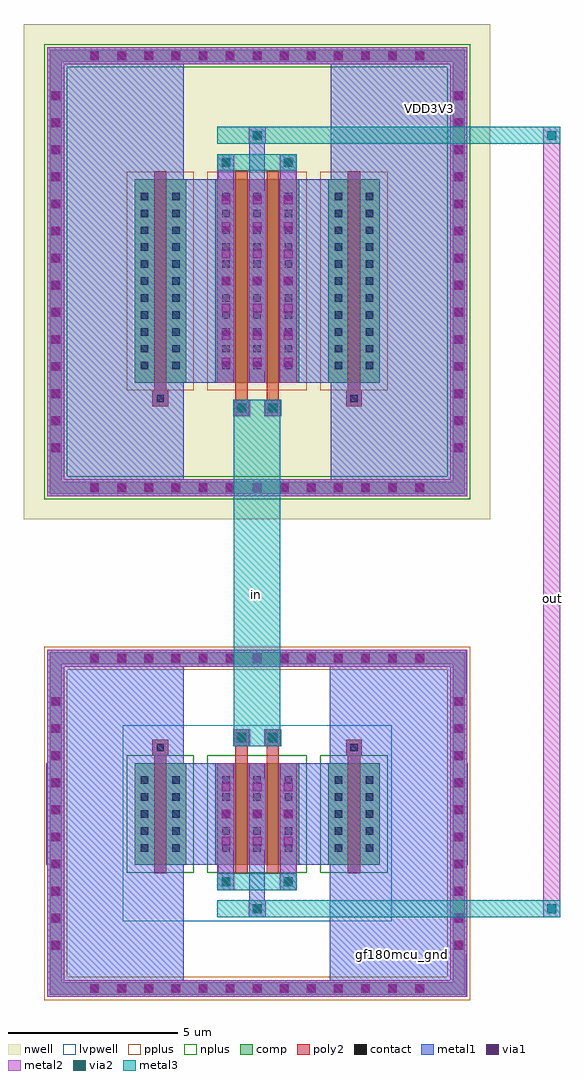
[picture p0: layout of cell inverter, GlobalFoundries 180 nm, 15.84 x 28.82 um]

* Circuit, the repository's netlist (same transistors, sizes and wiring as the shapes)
** sch_path: /foss/designs/core_pga/inverter/inverter.sch
.subckt inverter VDD3V3 gf180mcu_gnd in out
*.PININFO gf180mcu_gnd:B VDD3V3:B in:B out:B
M1 out in VDD3V3 VDD3V3 pfet_03v3 L=0.36u W=6u nf=1 m=2
M2 out in gf180mcu_gnd gf180mcu_gnd nfet_03v3 L=0.36u W=3u nf=1 m=2
M3 gf180mcu_gnd gf180mcu_gnd gf180mcu_gnd gf180mcu_gnd nfet_03v3 L=0.36u W=3u nf=1 m=2
M4 VDD3V3 VDD3V3 VDD3V3 VDD3V3 pfet_03v3 L=0.36u W=6u nf=1 m=2
.ends

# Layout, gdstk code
from math import pi, radians
import gdstk
lib = gdstk.Library(unit=1e-6, precision=5e-09)
def R(c, l, rs):  # rectangles x0, y0, x1, y1
    for r in rs: c.add(gdstk.rectangle(r[:2], r[2:], *l))
def A(c, l, x, y, w, h, nx, ny, dx, dy):  # array of equal rectangles
    R(c, l, [(x+i*dx, y+j*dy, x+i*dx+w, y+j*dy+h) for i in range(nx) for j in range(ny)])
def P(c, l, *ps):  # polygons
    for p in ps: c.add(gdstk.Polygon(p, *l))
nwell = (21, 0)
comp = (22, 0)
poly2 = (30, 0)
pplus = (31, 0)
nplus = (32, 0)
contact = (33, 0)
metal1 = (34, 0)
via1 = (35, 0)
metal2 = (36, 0)
via2 = (38, 0)
metal3 = (42, 0)
lvpwell = (204, 0)

unnamed_2a73851a = lib.new_cell('Unnamed_2a73851a')
R(unnamed_2a73851a, nwell, [(-2.32,-4.395,2.32,4.395)])
R(unnamed_2a73851a, comp, [(-1.97,-3.275,-0.45,2.725), (0.41,-3.275,1.97,2.725)])
R(unnamed_2a73851a, poly2, [(0.96,-4.275,1.42,-3.815), (1.01,-4.225,1.37,-3.865), (-1.44,-3.975,-0.98,-3.515), (-1.39,-3.925,-1.03,-3.565), (1.01,-3.815,1.37,-3.515), (-1.39,-3.515,-1.03,2.965), (1.01,-3.515,1.37,2.965)])
R(unnamed_2a73851a, pplus, [(-2.2,-3.505,-0.22,2.955), (0.18,-3.505,2.2,2.955)])
A(unnamed_2a73851a, contact, -1.78, -2.885, 0.22, 0.22, 1, 11, 0, 0.5)
A(unnamed_2a73851a, contact, -0.86, -2.885, 0.22, 0.22, 1, 11, 0, 0.5)
A(unnamed_2a73851a, contact, 0.62, -2.885, 0.22, 0.22, 1, 11, 0, 0.5)
A(unnamed_2a73851a, contact, 1.54, -2.885, 0.22, 0.22, 1, 11, 0, 0.5)
R(unnamed_2a73851a, contact, [(1.08,-4.155,1.3,-3.935), (-1.32,-3.855,-1.1,-3.635)])
A(unnamed_2a73851a, metal1, -1.9, -3.975, 0.46, 0.46, 3, 1, 0.46, 0)
A(unnamed_2a73851a, metal1, -1.9, -3.005, 0.46, 0.46, 1, 11, 0, 0.5)
A(unnamed_2a73851a, metal1, -0.98, -3.005, 0.46, 0.46, 1, 11, 0, 0.5)
A(unnamed_2a73851a, metal1, 0.5, -3.005, 0.46, 0.46, 1, 11, 0, 0.5)
A(unnamed_2a73851a, metal1, 1.42, -3.005, 0.46, 0.46, 1, 11, 0, 0.5)
A(unnamed_2a73851a, metal1, 0.48, -2.925, 0.5, 0.5, 1, 7, 0, 0.8)
A(unnamed_2a73851a, metal1, 1.4, -2.925, 0.5, 0.5, 1, 7, 0, 0.8)
R(unnamed_2a73851a, metal1, [(0.96,-4.275,1.42,-3.815), (0.96,-4.275,1.42,-3.815), (-1.9,-3.975,-1.44,-3.275), (-0.98,-3.975,-0.52,-3.275), (-1.9,-3.275,-1.44,2.725), (-0.98,-3.275,-0.52,2.725), (0.5,-3.275,0.96,2.725), (1.42,-3.275,1.88,2.725), (0.48,-2.925,0.98,2.375), (1.4,-2.925,1.9,2.375), (0.5,2.725,0.96,3.475), (1.42,2.725,1.88,4.275), (0.48,2.975,0.98,3.475), (1.4,3.775,1.9,4.275)])
A(unnamed_2a73851a, via1, 0.6, -2.805, 0.26, 0.26, 1, 7, 0, 0.8)
A(unnamed_2a73851a, via1, 1.52, -2.805, 0.26, 0.26, 1, 7, 0, 0.8)
R(unnamed_2a73851a, via1, [(0.6,3.095,0.86,3.355), (1.52,3.895,1.78,4.155)])
A(unnamed_2a73851a, metal2, 0.48, -2.925, 0.5, 0.5, 1, 7, 0, 0.8)
A(unnamed_2a73851a, metal2, 1.4, -2.925, 0.5, 0.5, 1, 7, 0, 0.8)
R(unnamed_2a73851a, metal2, [(0.48,-3.275,0.98,2.725), (1.4,-3.275,1.9,2.725), (0.48,2.975,0.98,3.475), (1.4,3.775,1.9,4.275)])
R(unnamed_2a73851a, via2, [(0.6,3.095,0.86,3.355), (1.52,3.895,1.78,4.155)])
R(unnamed_2a73851a, metal3, [(0.48,2.975,0.98,3.475), (0.48,2.975,1.9,3.475), (0.48,3.775,1.9,4.275), (1.4,3.775,1.9,4.275)])

unnamed_f1af8ef3 = lib.new_cell('Unnamed_f1af8ef3')
R(unnamed_f1af8ef3, nwell, [(-2.32,-4.395,2.32,4.395)])
R(unnamed_f1af8ef3, comp, [(-1.97,-3.275,-0.45,2.725), (0.41,-3.275,1.97,2.725)])
R(unnamed_f1af8ef3, poly2, [(0.96,-4.275,1.42,-3.815), (1.01,-4.225,1.37,-3.865), (-1.44,-3.975,-0.98,-3.515), (-1.39,-3.925,-1.03,-3.565), (1.01,-3.815,1.37,-3.515), (-1.39,-3.515,-1.03,2.965), (1.01,-3.515,1.37,2.965)])
R(unnamed_f1af8ef3, pplus, [(-2.2,-3.505,-0.22,2.955), (0.18,-3.505,2.2,2.955)])
A(unnamed_f1af8ef3, contact, -1.78, -2.885, 0.22, 0.22, 1, 11, 0, 0.5)
A(unnamed_f1af8ef3, contact, -0.86, -2.885, 0.22, 0.22, 1, 11, 0, 0.5)
A(unnamed_f1af8ef3, contact, 0.62, -2.885, 0.22, 0.22, 1, 11, 0, 0.5)
A(unnamed_f1af8ef3, contact, 1.54, -2.885, 0.22, 0.22, 1, 11, 0, 0.5)
R(unnamed_f1af8ef3, contact, [(1.08,-4.155,1.3,-3.935), (-1.32,-3.855,-1.1,-3.635)])
A(unnamed_f1af8ef3, metal1, -1.9, -3.975, 0.46, 0.46, 3, 1, 0.46, 0)
A(unnamed_f1af8ef3, metal1, -1.9, -3.005, 0.46, 0.46, 1, 11, 0, 0.5)
A(unnamed_f1af8ef3, metal1, -0.98, -3.005, 0.46, 0.46, 1, 11, 0, 0.5)
A(unnamed_f1af8ef3, metal1, 0.5, -3.005, 0.46, 0.46, 1, 11, 0, 0.5)
A(unnamed_f1af8ef3, metal1, 1.42, -3.005, 0.46, 0.46, 1, 11, 0, 0.5)
A(unnamed_f1af8ef3, metal1, 0.48, -2.925, 0.5, 0.5, 1, 7, 0, 0.8)
A(unnamed_f1af8ef3, metal1, 1.4, -2.925, 0.5, 0.5, 1, 7, 0, 0.8)
R(unnamed_f1af8ef3, metal1, [(0.96,-4.275,1.42,-3.815), (0.96,-4.275,1.42,-3.815), (-1.9,-3.975,-1.44,-3.275), (-0.98,-3.975,-0.52,-3.275), (-1.9,-3.275,-1.44,2.725), (-0.98,-3.275,-0.52,2.725), (0.5,-3.275,0.96,2.725), (1.42,-3.275,1.88,2.725), (0.48,-2.925,0.98,2.375), (1.4,-2.925,1.9,2.375), (0.5,2.725,0.96,3.475), (1.42,2.725,1.88,4.275), (0.48,2.975,0.98,3.475), (1.4,3.775,1.9,4.275)])
A(unnamed_f1af8ef3, via1, 0.6, -2.805, 0.26, 0.26, 1, 7, 0, 0.8)
A(unnamed_f1af8ef3, via1, 1.52, -2.805, 0.26, 0.26, 1, 7, 0, 0.8)
R(unnamed_f1af8ef3, via1, [(0.6,3.095,0.86,3.355), (1.52,3.895,1.78,4.155)])
A(unnamed_f1af8ef3, metal2, 0.48, -2.925, 0.5, 0.5, 1, 7, 0, 0.8)
A(unnamed_f1af8ef3, metal2, 1.4, -2.925, 0.5, 0.5, 1, 7, 0, 0.8)
R(unnamed_f1af8ef3, metal2, [(0.48,-3.275,0.98,2.725), (1.4,-3.275,1.9,2.725), (0.48,2.975,0.98,3.475), (1.4,3.775,1.9,4.275)])
R(unnamed_f1af8ef3, via2, [(0.6,3.095,0.86,3.355), (1.52,3.895,1.78,4.155)])
R(unnamed_f1af8ef3, metal3, [(0.48,2.975,0.98,3.475), (0.48,2.975,1.9,3.475), (0.48,3.775,1.9,4.275), (1.4,3.775,1.9,4.275)])

unnamed_ead98f9a = lib.new_cell('Unnamed_ead98f9a')
R(unnamed_ead98f9a, comp, [(-1.97,-1.775,-0.45,1.225), (0.41,-1.775,1.97,1.225)])
R(unnamed_ead98f9a, poly2, [(0.96,-2.775,1.42,-2.315), (1.01,-2.725,1.37,-2.365), (-1.44,-2.475,-0.98,-2.015), (-1.39,-2.425,-1.03,-2.065), (1.01,-2.315,1.37,-2.015), (-1.39,-2.015,-1.03,1.465), (1.01,-2.015,1.37,1.465)])
R(unnamed_ead98f9a, nplus, [(-2.2,-2.005,-0.22,1.455), (0.18,-2.005,2.2,1.455)])
A(unnamed_ead98f9a, contact, -1.78, -1.385, 0.22, 0.22, 1, 5, 0, 0.5)
A(unnamed_ead98f9a, contact, -0.86, -1.385, 0.22, 0.22, 1, 5, 0, 0.5)
A(unnamed_ead98f9a, contact, 0.62, -1.385, 0.22, 0.22, 1, 5, 0, 0.5)
A(unnamed_ead98f9a, contact, 1.54, -1.385, 0.22, 0.22, 1, 5, 0, 0.5)
R(unnamed_ead98f9a, contact, [(1.08,-2.655,1.3,-2.435), (-1.32,-2.355,-1.1,-2.135)])
A(unnamed_ead98f9a, metal1, -1.9, -2.475, 0.46, 0.46, 3, 1, 0.46, 0)
A(unnamed_ead98f9a, metal1, -1.9, -1.505, 0.46, 0.46, 1, 5, 0, 0.5)
A(unnamed_ead98f9a, metal1, -0.98, -1.505, 0.46, 0.46, 1, 5, 0, 0.5)
A(unnamed_ead98f9a, metal1, 0.5, -1.505, 0.46, 0.46, 1, 5, 0, 0.5)
A(unnamed_ead98f9a, metal1, 1.42, -1.505, 0.46, 0.46, 1, 5, 0, 0.5)
A(unnamed_ead98f9a, metal1, 0.48, -1.325, 0.5, 0.5, 1, 3, 0, 0.8)
A(unnamed_ead98f9a, metal1, 1.4, -1.325, 0.5, 0.5, 1, 3, 0, 0.8)
R(unnamed_ead98f9a, metal1, [(0.96,-2.775,1.42,-2.315), (0.96,-2.775,1.42,-2.315), (-1.9,-2.475,-1.44,-1.775), (-0.98,-2.475,-0.52,-1.775), (-1.9,-1.775,-1.44,1.225), (-0.98,-1.775,-0.52,1.225), (0.5,-1.775,0.96,1.225), (1.42,-1.775,1.88,1.225), (0.48,-1.325,0.98,0.775), (1.4,-1.325,1.9,0.775), (0.5,1.225,0.96,1.975), (1.42,1.225,1.88,2.775), (0.48,1.475,0.98,1.975), (1.4,2.275,1.9,2.775)])
A(unnamed_ead98f9a, via1, 0.6, -1.205, 0.26, 0.26, 1, 3, 0, 0.8)
A(unnamed_ead98f9a, via1, 1.52, -1.205, 0.26, 0.26, 1, 3, 0, 0.8)
R(unnamed_ead98f9a, via1, [(0.6,1.595,0.86,1.855), (1.52,2.395,1.78,2.655)])
A(unnamed_ead98f9a, metal2, 0.48, -1.325, 0.5, 0.5, 1, 3, 0, 0.8)
A(unnamed_ead98f9a, metal2, 1.4, -1.325, 0.5, 0.5, 1, 3, 0, 0.8)
R(unnamed_ead98f9a, metal2, [(0.48,-1.775,0.98,1.225), (1.4,-1.775,1.9,1.225), (0.48,1.475,0.98,1.975), (1.4,2.275,1.9,2.775)])
R(unnamed_ead98f9a, via2, [(0.6,1.595,0.86,1.855), (1.52,2.395,1.78,2.655)])
R(unnamed_ead98f9a, metal3, [(0.48,1.475,0.98,1.975), (0.48,1.475,1.9,1.975), (0.48,2.275,1.9,2.775), (1.4,2.275,1.9,2.775)])
R(unnamed_ead98f9a, lvpwell, [(-2.32,-2.895,2.32,2.895)])

unnamed_11e8e328 = lib.new_cell('Unnamed_11e8e328')
R(unnamed_11e8e328, comp, [(-1.97,-1.775,-0.45,1.225), (0.41,-1.775,1.97,1.225)])
R(unnamed_11e8e328, poly2, [(0.96,-2.775,1.42,-2.315), (1.01,-2.725,1.37,-2.365), (-1.44,-2.475,-0.98,-2.015), (-1.39,-2.425,-1.03,-2.065), (1.01,-2.315,1.37,-2.015), (-1.39,-2.015,-1.03,1.465), (1.01,-2.015,1.37,1.465)])
R(unnamed_11e8e328, nplus, [(-2.2,-2.005,-0.22,1.455), (0.18,-2.005,2.2,1.455)])
A(unnamed_11e8e328, contact, -1.78, -1.385, 0.22, 0.22, 1, 5, 0, 0.5)
A(unnamed_11e8e328, contact, -0.86, -1.385, 0.22, 0.22, 1, 5, 0, 0.5)
A(unnamed_11e8e328, contact, 0.62, -1.385, 0.22, 0.22, 1, 5, 0, 0.5)
A(unnamed_11e8e328, contact, 1.54, -1.385, 0.22, 0.22, 1, 5, 0, 0.5)
R(unnamed_11e8e328, contact, [(1.08,-2.655,1.3,-2.435), (-1.32,-2.355,-1.1,-2.135)])
A(unnamed_11e8e328, metal1, -1.9, -2.475, 0.46, 0.46, 3, 1, 0.46, 0)
A(unnamed_11e8e328, metal1, -1.9, -1.505, 0.46, 0.46, 1, 5, 0, 0.5)
A(unnamed_11e8e328, metal1, -0.98, -1.505, 0.46, 0.46, 1, 5, 0, 0.5)
A(unnamed_11e8e328, metal1, 0.5, -1.505, 0.46, 0.46, 1, 5, 0, 0.5)
A(unnamed_11e8e328, metal1, 1.42, -1.505, 0.46, 0.46, 1, 5, 0, 0.5)
A(unnamed_11e8e328, metal1, 0.48, -1.325, 0.5, 0.5, 1, 3, 0, 0.8)
A(unnamed_11e8e328, metal1, 1.4, -1.325, 0.5, 0.5, 1, 3, 0, 0.8)
R(unnamed_11e8e328, metal1, [(0.96,-2.775,1.42,-2.315), (0.96,-2.775,1.42,-2.315), (-1.9,-2.475,-1.44,-1.775), (-0.98,-2.475,-0.52,-1.775), (-1.9,-1.775,-1.44,1.225), (-0.98,-1.775,-0.52,1.225), (0.5,-1.775,0.96,1.225), (1.42,-1.775,1.88,1.225), (0.48,-1.325,0.98,0.775), (1.4,-1.325,1.9,0.775), (0.5,1.225,0.96,1.975), (1.42,1.225,1.88,2.775), (0.48,1.475,0.98,1.975), (1.4,2.275,1.9,2.775)])
A(unnamed_11e8e328, via1, 0.6, -1.205, 0.26, 0.26, 1, 3, 0, 0.8)
A(unnamed_11e8e328, via1, 1.52, -1.205, 0.26, 0.26, 1, 3, 0, 0.8)
R(unnamed_11e8e328, via1, [(0.6,1.595,0.86,1.855), (1.52,2.395,1.78,2.655)])
A(unnamed_11e8e328, metal2, 0.48, -1.325, 0.5, 0.5, 1, 3, 0, 0.8)
A(unnamed_11e8e328, metal2, 1.4, -1.325, 0.5, 0.5, 1, 3, 0, 0.8)
R(unnamed_11e8e328, metal2, [(0.48,-1.775,0.98,1.225), (1.4,-1.775,1.9,1.225), (0.48,1.475,0.98,1.975), (1.4,2.275,1.9,2.775)])
R(unnamed_11e8e328, via2, [(0.6,1.595,0.86,1.855), (1.52,2.395,1.78,2.655)])
R(unnamed_11e8e328, metal3, [(0.48,1.475,0.98,1.975), (0.48,1.475,1.9,1.975), (0.48,2.275,1.9,2.775), (1.4,2.275,1.9,2.775)])
R(unnamed_11e8e328, lvpwell, [(-2.32,-2.895,2.32,2.895)])

unnamed_a559eeb2_1 = lib.new_cell('Unnamed_a559eeb2$1')
A(unnamed_a559eeb2_1, comp, -4.98, -6.555, 0.36, 0.36, 13, 2, 0.8, 12.75)
A(unnamed_a559eeb2_1, comp, -6.13, -5.38, 0.36, 0.36, 1, 14, 0, 0.8)
A(unnamed_a559eeb2_1, comp, 5.77, -5.38, 0.36, 0.36, 1, 14, 0, 0.8)
R(unnamed_a559eeb2_1, comp, [(-4.98,-6.555,4.98,-6.195), (-6.13,-5.38,-5.77,5.38), (5.77,-5.38,6.13,5.38), (-4.98,6.195,4.98,6.555)])
P(unnamed_a559eeb2_1, comp, [(-6.13,-6.555),(-6.13,-6.195),(-5.77,-6.195),(5.77,-6.195),(5.77,6.195),(-5.77,6.195),(-5.77,-6.195),(-6.13,-6.195),(-6.13,6.555),(6.13,6.555),(6.13,-6.555)])
P(unnamed_a559eeb2_1, nplus, [(-6.29,-6.715),(-6.29,-6.035),(-5.61,-6.035),(5.61,-6.035),(5.61,6.035),(-5.61,6.035),(-5.61,-6.035),(-6.29,-6.035),(-6.29,6.715),(6.29,6.715),(6.29,-6.715)])
A(unnamed_a559eeb2_1, contact, -4.91, -6.485, 0.22, 0.22, 13, 2, 0.8, 12.75)
A(unnamed_a559eeb2_1, contact, -6.06, -5.31, 0.22, 0.22, 1, 14, 0, 0.8)
A(unnamed_a559eeb2_1, contact, 5.84, -5.31, 0.22, 0.22, 1, 14, 0, 0.8)
A(unnamed_a559eeb2_1, metal1, -5.05, -6.625, 0.5, 0.5, 13, 2, 0.8, 12.75)
A(unnamed_a559eeb2_1, metal1, -6.2, -5.45, 0.5, 0.5, 1, 14, 0, 0.8)
A(unnamed_a559eeb2_1, metal1, 5.7, -5.45, 0.5, 0.5, 1, 14, 0, 0.8)
R(unnamed_a559eeb2_1, metal1, [(-5.05,-6.625,5.05,-6.125), (-6.2,-5.45,-5.7,5.45), (5.7,-5.45,6.2,5.45), (-5.05,6.125,5.05,6.625)])
A(unnamed_a559eeb2_1, via1, -4.93, -6.505, 0.26, 0.26, 13, 2, 0.8, 12.75)
A(unnamed_a559eeb2_1, via1, -6.08, -5.33, 0.26, 0.26, 1, 14, 0, 0.8)
A(unnamed_a559eeb2_1, via1, 5.82, -5.33, 0.26, 0.26, 1, 14, 0, 0.8)
A(unnamed_a559eeb2_1, metal2, -5.05, -6.625, 0.5, 0.5, 13, 2, 0.8, 12.75)
A(unnamed_a559eeb2_1, metal2, -6.2, -5.45, 0.5, 0.5, 1, 14, 0, 0.8)
A(unnamed_a559eeb2_1, metal2, 5.7, -5.45, 0.5, 0.5, 1, 14, 0, 0.8)
R(unnamed_a559eeb2_1, metal2, [(-6.2,-6.625,-5.77,-6.125), (-6.2,-6.625,-5.7,-6.195), (-5.77,-6.625,5.77,-6.125), (5.7,-6.625,6.2,-6.195), (5.77,-6.625,6.2,-6.125), (-6.2,-6.195,-5.7,6.195), (5.7,-6.195,6.2,6.195), (-6.2,6.125,-5.77,6.625), (-5.77,6.125,5.77,6.625), (5.77,6.125,6.2,6.625), (-6.2,6.195,-5.7,6.625), (5.7,6.195,6.2,6.625)])

unnamed_ba294454_1 = lib.new_cell('Unnamed_ba294454$1')
A(unnamed_ba294454_1, comp, -4.98, -5.055, 0.36, 0.36, 13, 2, 0.8, 9.75)
A(unnamed_ba294454_1, comp, -6.13, -3.78, 0.36, 0.36, 1, 10, 0, 0.8)
A(unnamed_ba294454_1, comp, 5.77, -3.78, 0.36, 0.36, 1, 10, 0, 0.8)
R(unnamed_ba294454_1, comp, [(-4.98,-5.055,4.98,-4.695), (-6.13,-3.78,-5.77,3.78), (5.77,-3.78,6.13,3.78), (-4.98,4.695,4.98,5.055)])
P(unnamed_ba294454_1, comp, [(-6.13,-5.055),(-6.13,-4.695),(-5.77,-4.695),(5.77,-4.695),(5.77,4.695),(-5.77,4.695),(-5.77,-4.695),(-6.13,-4.695),(-6.13,5.055),(6.13,5.055),(6.13,-5.055)])
P(unnamed_ba294454_1, pplus, [(-6.29,-5.215),(-6.29,-4.535),(-5.61,-4.535),(5.61,-4.535),(5.61,4.535),(-5.61,4.535),(-5.61,-4.535),(-6.29,-4.535),(-6.29,5.215),(6.29,5.215),(6.29,-5.215)])
A(unnamed_ba294454_1, contact, -4.91, -4.985, 0.22, 0.22, 13, 2, 0.8, 9.75)
A(unnamed_ba294454_1, contact, -6.06, -3.71, 0.22, 0.22, 1, 10, 0, 0.8)
A(unnamed_ba294454_1, contact, 5.84, -3.71, 0.22, 0.22, 1, 10, 0, 0.8)
A(unnamed_ba294454_1, metal1, -5.05, -5.125, 0.5, 0.5, 13, 2, 0.8, 9.75)
A(unnamed_ba294454_1, metal1, -6.2, -3.85, 0.5, 0.5, 1, 10, 0, 0.8)
A(unnamed_ba294454_1, metal1, 5.7, -3.85, 0.5, 0.5, 1, 10, 0, 0.8)
R(unnamed_ba294454_1, metal1, [(-5.05,-5.125,5.05,-4.625), (-6.2,-3.85,-5.7,3.85), (5.7,-3.85,6.2,3.85), (-5.05,4.625,5.05,5.125)])
A(unnamed_ba294454_1, via1, -4.93, -5.005, 0.26, 0.26, 13, 2, 0.8, 9.75)
A(unnamed_ba294454_1, via1, -6.08, -3.73, 0.26, 0.26, 1, 10, 0, 0.8)
A(unnamed_ba294454_1, via1, 5.82, -3.73, 0.26, 0.26, 1, 10, 0, 0.8)
A(unnamed_ba294454_1, metal2, -5.05, -5.125, 0.5, 0.5, 13, 2, 0.8, 9.75)
A(unnamed_ba294454_1, metal2, -6.2, -3.85, 0.5, 0.5, 1, 10, 0, 0.8)
A(unnamed_ba294454_1, metal2, 5.7, -3.85, 0.5, 0.5, 1, 10, 0, 0.8)
R(unnamed_ba294454_1, metal2, [(-6.2,-5.125,-5.77,-4.625), (-6.2,-5.125,-5.7,-4.695), (-5.77,-5.125,5.77,-4.625), (5.7,-5.125,6.2,-4.695), (5.77,-5.125,6.2,-4.625), (-6.2,-4.695,-5.7,4.695), (5.7,-4.695,6.2,4.695), (-6.2,4.625,-5.77,5.125), (-5.77,4.625,5.77,5.125), (5.77,4.625,6.2,5.125), (-6.2,4.695,-5.7,5.125), (5.7,4.695,6.2,5.125)])

straight_route_bff6138e_ = lib.new_cell('straight_route_bff6138e$4')
P(straight_route_bff6138e_, metal1, [(0.96,-4.275),(0.96,-4.275),(1.42,-4.275),(1.42,-4.275)])

c_route_7e4f65a3_1 = lib.new_cell('c_route_7e4f65a3$1')
R(c_route_7e4f65a3_1, metal2, [(10.1,-19.065,10.6,-18.565), (10.1,-19.065,10.6,4.275), (10.1,3.775,10.6,4.275)])
P(c_route_7e4f65a3_1, metal2, [(10.6,-19.065),(10.6,-18.565),(10.6,-18.565),(10.6,-19.065)],
  [(10.6,3.775),(10.6,4.275),(10.6,4.275),(10.6,3.775)])
R(c_route_7e4f65a3_1, via2, [(10.22,-18.945,10.48,-18.685), (10.22,3.895,10.48,4.155)])
R(c_route_7e4f65a3_1, metal3, [(1.9,-19.065,10.6,-18.565), (10.1,-19.065,10.6,-18.565), (1.9,3.775,10.6,4.275), (10.1,3.775,10.6,4.275)])

straight_route_e266139e_ = lib.new_cell('straight_route_e266139e$2')
R(straight_route_e266139e_, metal1, [(1.86,-14.015,2.36,-13.515), (1.86,-4.275,2.36,-3.775)])
R(straight_route_e266139e_, via1, [(1.98,-13.895,2.24,-13.635), (1.98,-4.155,2.24,-3.895)])
R(straight_route_e266139e_, metal2, [(1.86,-14.015,2.36,-13.515), (1.86,-4.275,2.36,-3.775)])
R(straight_route_e266139e_, via2, [(1.98,-13.895,2.24,-13.635), (1.98,-4.155,2.24,-3.895)])
R(straight_route_e266139e_, metal3, [(1.86,-14.015,2.36,-13.515), (1.88,-13.515,2.34,-4.275), (1.86,-4.275,2.36,-3.775)])

straight_route_f31ed6b7_ = lib.new_cell('straight_route_f31ed6b7$2')
R(straight_route_f31ed6b7_, metal1, [(0.94,-14.015,1.44,-13.515), (0.94,-4.275,1.44,-3.775)])
R(straight_route_f31ed6b7_, via1, [(1.06,-13.895,1.32,-13.635), (1.06,-4.155,1.32,-3.895)])
R(straight_route_f31ed6b7_, metal2, [(0.94,-14.015,1.44,-13.515), (0.94,-4.275,1.44,-3.775)])
R(straight_route_f31ed6b7_, via2, [(1.06,-13.895,1.32,-13.635), (1.06,-4.155,1.32,-3.895)])
R(straight_route_f31ed6b7_, metal3, [(0.94,-14.015,1.44,-13.515), (0.96,-13.515,1.42,-4.275), (0.94,-4.275,1.44,-3.775)])

inverter = lib.new_cell('inverter')
R(inverter, nwell, [(-5.24,-7.315,8.54,7.315)])
R(inverter, metal1, [(-4.55,-21.415,-0.52,-11.165), (3.8,-21.415,7.83,-11.165), (-4.57,-17.515,0.96,-14.515), (2.34,-17.515,7.87,-14.515), (-4.55,-6.625,-0.52,6.625), (3.82,-6.625,7.85,6.625), (-4.55,-3.275,0.96,2.725), (2.3,-3.275,7.81,2.725)])
R(inverter, metal2, [(0.48,-18.265,0.98,-14.515), (2.32,-18.265,2.82,-14.515), (0.48,-3.275,0.98,3.475), (2.32,-3.275,2.82,3.475)])
R(inverter, metal3, [(0.96,-14.015,2.34,-3.775)])
inverter.add(gdstk.Reference(unnamed_2a73851a, (0,0)))
inverter.add(gdstk.Reference(unnamed_f1af8ef3, (3.3,0), rotation=pi, x_reflection=True))
inverter.add(gdstk.Reference(unnamed_ead98f9a, (0,-16.29), x_reflection=True))
inverter.add(gdstk.Reference(unnamed_11e8e328, (3.3,-16.29), rotation=pi))
inverter.add(gdstk.Reference(unnamed_a559eeb2_1, (1.65,0)))
inverter.add(gdstk.Reference(unnamed_ba294454_1, (1.65,-16.29)))
inverter.add(gdstk.Reference(straight_route_bff6138e_, (0,0)))
inverter.add(gdstk.Reference(c_route_7e4f65a3_1, (0,0)))
inverter.add(gdstk.Reference(straight_route_e266139e_, (0,0)))
inverter.add(gdstk.Reference(straight_route_f31ed6b7_, (0,0)))
inverter.add(gdstk.Label('in', (1.64,-9.54), layer=42, texttype=10))
inverter.add(gdstk.Label('out', (10.36,-9.66), layer=36, texttype=10))
inverter.add(gdstk.Label('gf180mcu_gnd', (5.93,-20.15), layer=34, texttype=10))
inverter.add(gdstk.Label('VDD3V3', (6.73,4.83), layer=34, texttype=10))

lib.write_gds('inverter.gds')
